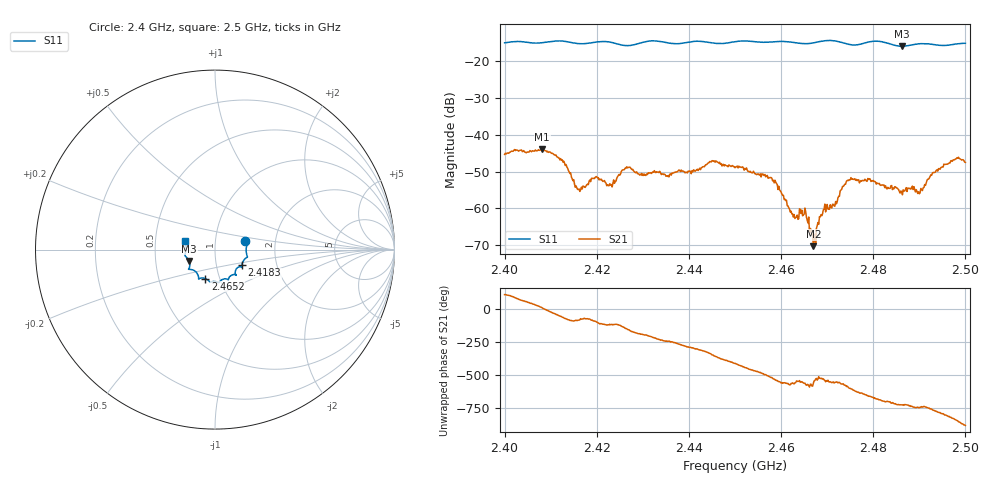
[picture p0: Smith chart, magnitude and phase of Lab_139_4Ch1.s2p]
# Hz S RI R 50
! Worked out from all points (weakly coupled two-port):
!   601 points, 2.4 GHz to 2.5 GHz, reference 50 ohm
!   highest |S21| = -43.98 dB at 2.4082 GHz (marker M1); lowest = -70.2 dB at 2.467 GHz (marker M2)
!   lowest |S11| = -16.1 dB at 2.4862 GHz (marker M3), VSWR 1.37, Z = 37.2 - j4.87 ohm
!   |S11| at or under -10 dB: start of sweep to end of sweep
!   S12 and S22 are empty: the file has one direction only
!   S11 on the Smith chart (normalised r, x): 2.4 GHz: 1.40, +0.14; 2.4183 GHz: 1.33, -0.24; 2.4652 GHz: 0.85, -0.28; 2.5 GHz: 0.71, +0.07
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2.4e9  0.168 0.0474  -0.0021 0.00497  0 0  0 0
2.408167e9  0.1746 -0.017  0.00619 0.00131  0 0  0 0
2.4125e9  0.1799 -0.0421  0.0023 -0.00395  0 0  0 0
2.416667e9  0.1556 -0.0679  0.000528 -0.00187  0 0  0 0
2.418333e9  0.1503 -0.0864  0.000698 -0.00223  0 0  0 0
2.423e9  0.1488 -0.0977  -0.000951 -0.00184  0 0  0 0
2.426667e9  0.1212 -0.1047  -0.00317 -0.00159  0 0  0 0
2.433333e9  0.1171 -0.1415  -0.00214 0.00224  0 0  0 0
2.45e9  0.0258 -0.1795  0.00223 -0.00278  0 0  0 0
2.4575e9  -0.0127 -0.1779  -0.00234 -0.00111  0 0  0 0
2.462833e9  -0.0355 -0.1726  -0.000727 0.00039  0 0  0 0
2.465167e9  -0.0545 -0.1613  -0.000939 0.000378  0 0  0 0
2.466667e9  -0.0706 -0.1578  -0.000319 0.000306  0 0  0 0
2.467e9  -0.0739 -0.1578  -0.00028 0.00013  0 0  0 0
2.469e9  -0.0883 -0.1622  -0.000834 -0.000127  0 0  0 0
2.471833e9  -0.0909 -0.1611  -0.00119 0.000359  0 0  0 0
2.474667e9  -0.0987 -0.1344  -0.00125 0.00203  0 0  0 0
2.483333e9  -0.1417 -0.0966  0.0018 0.000511  0 0  0 0
2.486167e9  -0.1433 -0.0639  0.00167 -0.000249  0 0  0 0
2.490167e9  -0.166 -0.0362  0.00146 -0.000707  0 0  0 0
2.495167e9  -0.1607 0.00492  0.000931 -0.00351  0 0  0 0
2.5e9  -0.1655 0.0475  -0.00406 -0.00107  0 0  0 0
